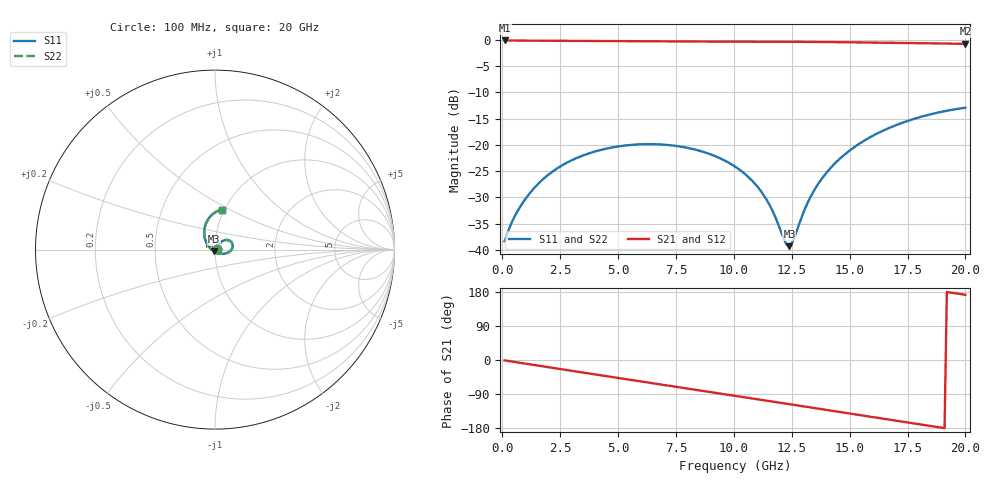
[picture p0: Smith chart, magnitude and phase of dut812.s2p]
! Touchstone file exported from HFSS 2026.1.0
!  File:  C:/ffzhzh/LocalFiles/Ansys_Project_Files/temp_train_TSV_RDL_812_1783264334_30076.aedt
!  Generated:  11:21:25 PM Jul  5, 2026
!  Design:  TSV_RDL
!  Project:  temp_train_TSV_RDL_812_1783264334_30076
! Variables:
!  h_bsmrdl = 5.42um
!  h_ox = 20um
!  h_rdl = 5um
!  h_sub = 97.61um
!  h_tmrdl = 3.98um
!  h_tsv = 97.61um
!  h_via = 3um
!  l_bsmrdl = 241.92um
!  l_sub = 2462.73um
!  l_tmrdl = 304.85um
!  m_sub = 200um
!  pitch = 34.41um
!  r_tsv = 13.65um
!  s_tmrdl = 10um
!  w_bsmrdl = 26.34um
!  w_sub = 500um
!  w_tmrdl = 12.85um
!  x_tsv_center1 = 311.275um
!  x_tsv_center2 = 579.535um
!  x_tsv_center3 = 897.235um
!  x_tsv_center4 = 1165.495um
!  x_tsv_center5 = 1483.195um
!  x_tsv_center6 = 1751.455um
# GHz S MA R 50.000000
! Terminal data exported
! Port[1] = TM_RDL1_1_T1
! Port[2] = TM_RDL5_1_T1
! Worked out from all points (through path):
!   200 points, 100 MHz to 20 GHz, reference 50 ohm
!   highest |S21| = -0.10 dB at 100 MHz (marker M1); lowest = -0.7 dB at 20 GHz (marker M2)
!   group delay of S21, straight-line fit = 26.1 ps
!   lowest |S11| = -39.3 dB at 12.4 GHz (marker M3), VSWR 1.02, Z = 49.4 - j0.866 ohm
!   |S11| at or under -10 dB: start of sweep to end of sweep
!   |S22| runs from -39.3 to -12.9 dB; largest |S21 - S12| = 2.8e-14
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0.1  0.01213 16.0  0.9884 -1.0  0.9884 -1.0  0.01213 16.0
! Gamma 0 0 0 0
! Port Impedance 50 0 50 0
0.6  0.02222 44.3  0.9855 -5.9  0.9855 -5.9  0.02222 44.3
1.4  0.0394 52.6  0.9832 -13.5  0.9832 -13.5  0.0394 52.6
2.3  0.05842 50.3  0.9803 -22.0  0.9803 -22.0  0.05842 50.3
3.5  0.07962 42.2  0.9759 -33.3  0.9759 -33.3  0.07962 42.2
5.1  0.09746 28.8  0.9706 -48.2  0.9706 -48.2  0.09746 28.8
6.8  0.1012 13.4  0.9666 -64.0  0.9666 -64.0  0.1012 13.4
8.6  0.08699 -4.2  0.9643 -80.8  0.9643 -80.8  0.087 -4.1
10.1  0.06125 -21.0  0.9632 -94.8  0.9632 -94.8  0.06126 -21.0
10.8  0.04544 -31.1  0.9625 -101.4  0.9625 -101.4  0.04545 -31.1
11.3  0.03302 -41.1  0.9619 -106.1  0.9619 -106.1  0.03304 -41.1
11.7  0.02283 -54.0  0.9612 -109.9  0.9612 -109.9  0.02285 -54.0
12.2  0.0121 -94.0  0.9603 -114.6  0.9603 -114.6  0.01211 -93.9
12.4  0.01087 -126.2  0.9598 -116.5  0.9598 -116.5  0.01087 -126.1
12.6  0.01291 -156.9  0.9593 -118.4  0.9593 -118.4  0.0129 -156.8
13  0.0226 170.9  0.9582 -122.3  0.9582 -122.3  0.02258 170.9
13.4  0.03475 156.6  0.9569 -126.1  0.9569 -126.1  0.03473 156.7
14  0.05441 144.4  0.9546 -131.8  0.9546 -131.8  0.05438 144.4
14.7  0.07817 134.3  0.9513 -138.4  0.9513 -138.4  0.07815 134.3
16.7  0.1449 112.1  0.9394 -157.4  0.9394 -157.4  0.1449 112.1
18.3  0.1909 96.4  0.9284 -172.3  0.9284 -172.3  0.1909 96.4
20  0.2263 80.5  0.9182 172.1  0.9182 172.1  0.2263 80.6
